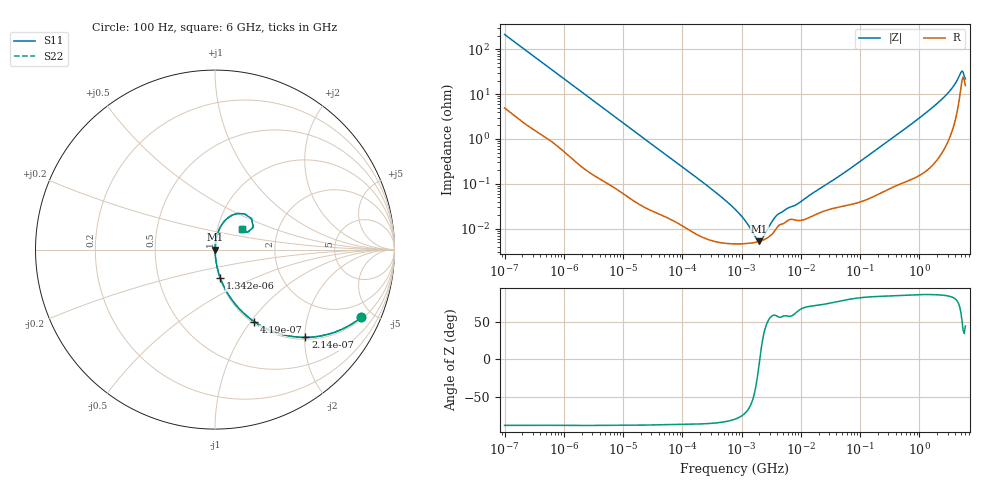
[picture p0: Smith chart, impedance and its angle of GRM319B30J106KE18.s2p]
!Murata Part Number: GRM319B30J106KE18
!These Parameters are Measured in Series Mode Connection
!Data Generated on Mar 30, 2021
!  o--ll--o
!Port1  Port2
!  o------o
!Operation Temp=25[degC], DC Bias Voltage=0[V]
!Freq. Start=100[Hz] Stop=6[GHz] 401[Steps]
# Hz S RI R 50
!Freq.(Hz) S11(Real) S11(Imag) S21(Real) S21(Imag) S12(Real) S12(Imag) S22(Real) S22(Imag)
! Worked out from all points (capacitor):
!   401 points, 100 Hz to 6 GHz, reference 50 ohm
!   read as one part in series: C = 7.42 uF near 109 Hz
!   lowest |Z| = 5.26 mohm at 1.983 MHz (marker M1)
!   series resonance near 2.027 MHz, so ESL is about 830 pH
!   S11 on the Smith chart (normalised r, x): 100 Hz: 1.10, -4.27; 214 Hz: 1.04, -2.02; 419 Hz: 1.02, -1.04; 1.342 kHz: 1.01, -0.33; 6 GHz: 1.31, +0.31
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100  0.8144 -0.3774  0.1856 0.3774  0.1856 0.3774  0.8144 -0.3774
214  0.504 -0.489  0.496 0.489  0.496 0.489  0.504 -0.489
419  0.2183 -0.4013  0.7817 0.4013  0.7817 0.4013  0.2183 -0.4013
717  0.0917 -0.2765  0.9083 0.2765  0.9083 0.2765  0.0917 -0.2765
1342  0.0301 -0.16  0.9699 0.16  0.9699 0.16  0.0301 -0.16
2008  0.0145 -0.1093  0.9855 0.1093  0.9855 0.1093  0.0145 -0.1093
6433  0.00213 -0.0351  0.9979 0.0351  0.9979 0.0351  0.00213 -0.0351
40335  0.000246 -0.00577  0.9998 0.00577  0.9998 0.00577  0.000246 -0.00577
302498  5.56e-05 -0.000787  0.9999 0.000787  0.9999 0.000787  5.56e-05 -0.000787
774597  4.6e-05 -0.000269  1 0.000269  1 0.000269  4.6e-05 -0.000269
1386327  4.76e-05 -9.42e-05  1 9.42e-05  1 9.42e-05  4.76e-05 -9.42e-05
1983483  5.23e-05 -5.2e-06  0.9999 5.2e-06  0.9999 5.2e-06  5.23e-05 -5.2e-06
2713602  6.24e-05 7.3e-05  0.9999 -7.3e-05  0.9999 -7.3e-05  6.24e-05 7.3e-05
4060267  0.000111 0.000175  0.9999 -0.000175  0.9999 -0.000175  0.000111 0.000175
8692127  0.000154 0.000318  0.9998 -0.000318  0.9998 -0.000318  0.000154 0.000318
1.555665e7  0.000191 0.00058  0.9998 -0.00058  0.9998 -0.00058  0.000191 0.00058
5.449875e7  0.000325 0.00176  0.9997 -0.00176  0.9997 -0.00176  0.000325 0.00176
3.124326e8  0.000863 0.00933  0.9991 -0.00933  0.9991 -0.00933  0.000863 0.00933
2.142435e9  0.00825 0.0661  0.9918 -0.0661  0.9918 -0.0661  0.00825 0.0661
3.8344e9  0.0414 0.1441  0.9586 -0.1441  0.9586 -0.1441  0.0414 0.1441
5.016141e9  0.1643 0.1991  0.8357 -0.1991  0.8357 -0.1991  0.1643 0.1991
6e9  0.1498 0.1139  0.8502 -0.1139  0.8502 -0.1139  0.1498 0.1139
